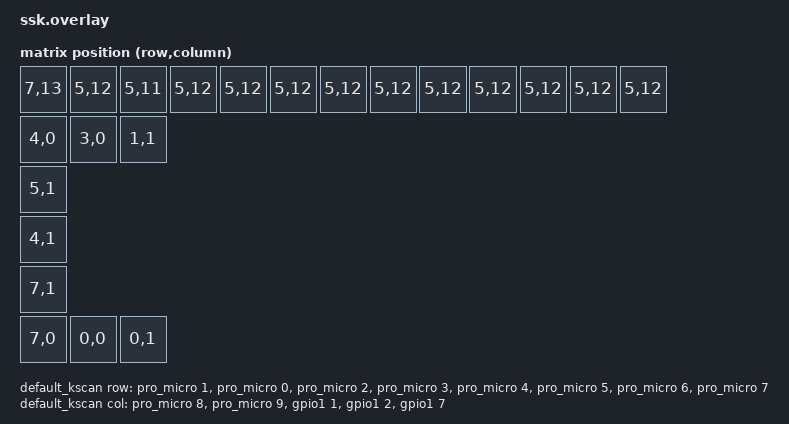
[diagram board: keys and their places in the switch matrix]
#include <dt-bindings/zmk/matrix_transform.h>

&pinctrl {
	spi0_default: spi0_default {
		group1 {
			psels = <NRF_PSEL(SPIM_SCK, 1, 13)>,
				<NRF_PSEL(SPIM_MOSI, 0, 10)>,
				<NRF_PSEL(SPIM_MISO, 1, 11)>;
		};
	};

	spi0_sleep: spi0_sleep {
		group1 {
			psels = <NRF_PSEL(SPIM_SCK, 1, 13)>,
				<NRF_PSEL(SPIM_MOSI, 0, 10)>,
				<NRF_PSEL(SPIM_MISO, 1, 11)>;
			low-power-enable;
		};
	};
};

&spi0 {
	status = "okay";
	cs-gpios = <&pro_micro 10 GPIO_ACTIVE_LOW>;
	pinctrl-0 = <&spi0_default>;
	pinctrl-1 = <&spi0_sleep>;
	pinctrl-names = "default", "sleep";
	 
	shifter: 595@0 {
		compatible = "zmk,gpio-595";
		status = "okay";
		gpio-controller;
		spi-max-frequency = <200000>;
		reg = <0>;
		label = "4HC595";
		#gpio-cells = <2>;
		ngpios = <8>;
	};
};

/ {
    chosen {
        zmk,kscan = &default_kscan;	
    };

default_kscan: kscan {
        compatible = "zmk,kscan-gpio-matrix";
        label = "default_kscan";
        diode-direction = "row2col";

        row-gpios
            = <&pro_micro 1 GPIO_ACTIVE_HIGH>
			  , <&pro_micro 0 GPIO_ACTIVE_HIGH>
			  , <&pro_micro 2 GPIO_ACTIVE_HIGH>
			  , <&pro_micro 3 GPIO_ACTIVE_HIGH>
			  , <&pro_micro 4 GPIO_ACTIVE_HIGH>
			  , <&pro_micro 5 GPIO_ACTIVE_HIGH>
			  , <&pro_micro 6 GPIO_ACTIVE_HIGH>
			  , <&pro_micro 7 GPIO_ACTIVE_HIGH>
            ;

        col-gpios
			= <&pro_micro 8 (GPIO_ACTIVE_HIGH | GPIO_PULL_DOWN)>
			, <&pro_micro 9 (GPIO_ACTIVE_HIGH | GPIO_PULL_DOWN)>                               
			, <&gpio1 1 (GPIO_ACTIVE_HIGH | GPIO_PULL_DOWN)>
			, <&gpio1 2 (GPIO_ACTIVE_HIGH | GPIO_PULL_DOWN)>
			, <&gpio1 7 (GPIO_ACTIVE_HIGH | GPIO_PULL_DOWN)>                 
            ;
    };

    default_transform: keymap_transform_0 {
        compatible = "zmk,matrix-transform";
        columns = <2>;
        rows = <8>;
        map = <
			RC(7,13)	RC(5,12) RC(5,11) RC(5,12) RC(5,12)		RC(5,12) RC(5,12) RC(5,12) RC(5,12)		RC(5,12) RC(5,12) RC(5,12) RC(5,12)
            RC(4,0) RC(3,0) RC(1,1)            
            RC(5,1)
            RC(4,1)
            RC(7,1)
            RC(7,0) RC(0,0) RC(0,1)
        >;
    };	
};

